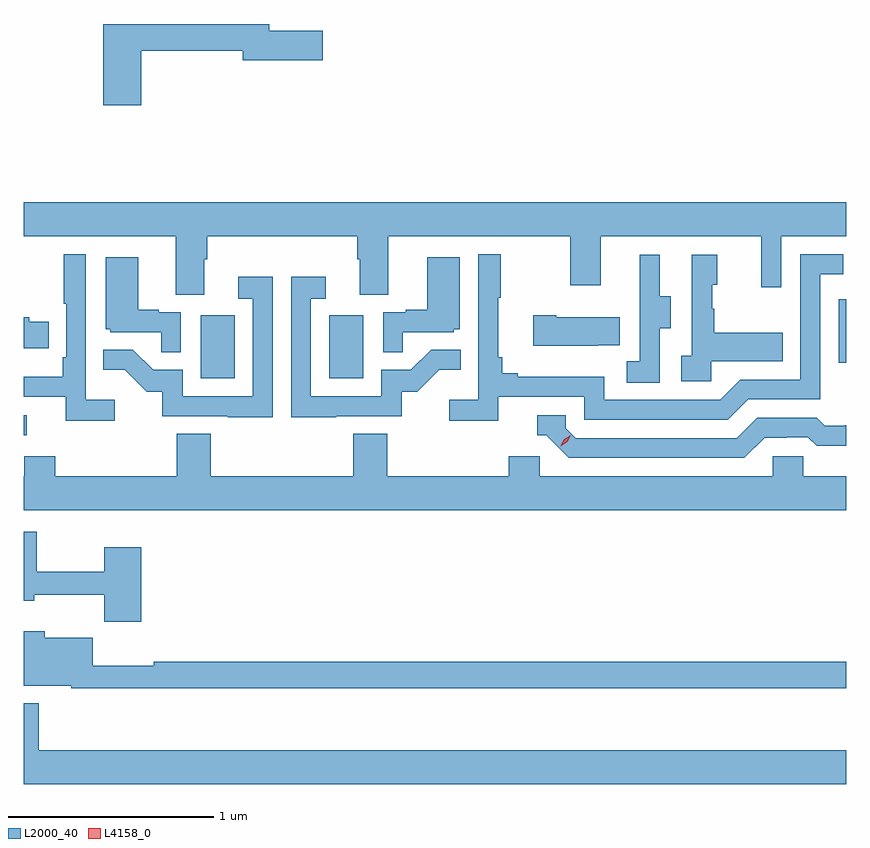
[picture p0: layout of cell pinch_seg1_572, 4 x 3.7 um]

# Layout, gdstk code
import gdstk
lib = gdstk.Library(unit=1e-6, precision=1e-09)
def R(c, l, rs):  # rectangles x0, y0, x1, y1
    for r in rs: c.add(gdstk.rectangle(r[:2], r[2:], *l))
def P(c, l, *ps):  # polygons
    for p in ps: c.add(gdstk.Polygon(p, *l))
L2000_40 = (2000, 40)
L4158_0 = (4158, 0)

pinch_seg1_572 = lib.new_cell('pinch_seg1_572')
R(pinch_seg1_572, L2000_40, [(1065.154,517.464,1065.169,517.56), (1066.016,517.74,1066.18,518.047), (1066.64,517.74,1066.804,518.047), (1069.116,517.815,1069.154,518.124)])
P(pinch_seg1_572, L2000_40, [(1065.725,519.334),(1066.22,519.334),(1066.22,519.287),(1066.609,519.287),(1066.609,519.429),(1066.348,519.429),(1066.348,519.463),(1065.542,519.463),(1065.542,519.069),(1065.725,519.069)],
  [(1066.033,518.32),(1066.046,518.32),(1066.046,518.432),(1066.775,518.432),(1066.775,518.32),(1066.787,518.32),(1066.787,518.146),(1066.927,518.146),(1066.927,518.432),(1067.812,518.432),(1067.812,518.193),(1067.959,518.193),(1067.959,518.432),(1068.74,518.432),(1068.74,518.184),(1068.837,518.184),(1068.837,518.432),(1069.154,518.432),(1069.154,518.596),(1065.154,518.596),(1065.154,518.432),(1065.893,518.432),(1065.893,518.146),(1066.033,518.146)],
  [(1065.598,517.636),(1065.456,517.636),(1065.456,518.344),(1065.348,518.344),(1065.348,518.104),(1065.36,518.104),(1065.36,517.843),(1065.343,517.843),(1065.343,517.747),(1065.154,517.747),(1065.154,517.65),(1065.359,517.65),(1065.359,517.534),(1065.598,517.534)],
  [(1067.462,517.65),(1067.88,517.65),(1067.88,517.539),(1068.577,517.539),(1068.676,517.638),(1069.026,517.638),(1069.026,518.247),(1069.139,518.247),(1069.139,518.343),(1068.93,518.343),(1068.93,517.734),(1068.639,517.734),(1068.54,517.635),(1067.976,517.635),(1067.976,517.747),(1067.557,517.747),(1067.557,517.766),(1067.48,517.766),(1067.48,517.843),(1067.461,517.843),(1067.461,518.131),(1067.473,518.131),(1067.473,518.344),(1067.364,518.344),(1067.364,517.636),(1067.223,517.636),(1067.223,517.534),(1067.462,517.534)],
  [(1068.246,517.984),(1068.301,517.984),(1068.301,518.139),(1068.247,518.139),(1068.247,518.341),(1068.149,518.341),(1068.149,518.127),(1068.15,518.127),(1068.15,517.823),(1068.087,517.823),(1068.087,517.72),(1068.246,517.72)],
  [(1068.498,517.823),(1068.845,517.823),(1068.845,517.963),(1068.511,517.963),(1068.511,518.078),(1068.501,518.078),(1068.501,518.196),(1068.526,518.196),(1068.526,518.341),(1068.402,518.341),(1068.402,517.85),(1068.351,517.85),(1068.351,517.725),(1068.498,517.725)],
  [(1065.918,518.061),(1065.812,518.061),(1065.812,518.074),(1065.712,518.074),(1065.712,518.329),(1065.554,518.329),(1065.554,517.98),(1065.576,517.98),(1065.576,517.965),(1065.823,517.965),(1065.823,517.867),(1065.918,517.867)],
  [(1066.997,517.965),(1067.244,517.965),(1067.244,517.98),(1067.275,517.98),(1067.275,518.329),(1067.117,518.329),(1067.117,518.074),(1067.013,518.074),(1067.013,518.061),(1066.902,518.061),(1066.902,517.867),(1066.997,517.867)],
  [(1066.673,517.557),(1066.992,517.557),(1066.992,517.674),(1067.068,517.674),(1067.175,517.781),(1067.279,517.781),(1067.279,517.88),(1067.135,517.88),(1067.037,517.782),(1066.893,517.782),(1066.893,517.653),(1066.551,517.653),(1066.551,518.127),(1066.624,518.127),(1066.624,518.233),(1066.455,518.233),(1066.455,517.552),(1066.673,517.552)],
  [(1066.365,518.233),(1066.197,518.233),(1066.197,518.127),(1066.269,518.127),(1066.269,517.653),(1065.927,517.653),(1065.927,517.782),(1065.783,517.782),(1065.685,517.88),(1065.541,517.88),(1065.541,517.781),(1065.645,517.781),(1065.752,517.674),(1065.829,517.674),(1065.829,517.557),(1066.147,517.557),(1066.147,517.552),(1066.365,517.552)],
  [(1067.945,517.901),(1068.053,517.901),(1068.053,518.038),(1067.743,518.038),(1067.743,518.046),(1067.631,518.046),(1067.631,517.898),(1067.945,517.898)],
  [(1065.164,517.887),(1065.275,517.887),(1065.275,518.016),(1065.181,518.016),(1065.181,518.038),(1065.154,518.038),(1065.154,517.886),(1065.164,517.886)],
  [(1068.757,517.452),(1068.864,517.452),(1068.864,517.455),(1068.967,517.455),(1069.009,517.413),(1069.154,517.413),(1069.154,517.512),(1069.147,517.512),(1069.147,517.509),(1069.048,517.509),(1069.009,517.548),(1068.72,517.548),(1068.621,517.449),(1067.838,517.449),(1067.79,517.497),(1067.79,517.56),(1067.651,517.56),(1067.651,517.464),(1067.694,517.464),(1067.805,517.353),(1068.658,517.353)],
  [(1069.154,517.264),(1068.945,517.264),(1068.945,517.362),(1068.795,517.362),(1068.795,517.264),(1067.664,517.264),(1067.664,517.362),(1067.513,517.362),(1067.513,517.264),(1066.922,517.264),(1066.922,517.472),(1066.757,517.472),(1066.757,517.264),(1066.064,517.264),(1066.064,517.472),(1065.899,517.472),(1065.899,517.264),(1065.308,517.264),(1065.308,517.362),(1065.156,517.362),(1065.156,517.264),(1065.154,517.264),(1065.154,517.1),(1069.154,517.1)],
  [(1065.725,516.919),(1065.547,516.919),(1065.547,516.799),(1065.217,516.799),(1065.217,516.994),(1065.154,516.994),(1065.154,516.659),(1065.205,516.659),(1065.205,516.689),(1065.547,516.689),(1065.547,516.558),(1065.725,516.558)],
  [(1069.154,516.362),(1065.786,516.362),(1065.786,516.344),(1065.49,516.344),(1065.49,516.478),(1065.256,516.478),(1065.256,516.511),(1065.154,516.511),(1065.154,516.245),(1065.386,516.245),(1065.386,516.234),(1069.154,516.234)],
  [(1069.154,515.932),(1065.227,515.932),(1065.227,516.16),(1065.154,516.16),(1065.154,515.768),(1069.154,515.768)])
P(pinch_seg1_572, L4158_0, [(1067.766,517.411),(1067.766,517.412),(1067.782,517.444),(1067.813,517.464),(1067.814,517.464),(1067.814,517.463),(1067.797,517.431),(1067.766,517.411)])

lib.write_gds('pinch_seg1_572.gds')
